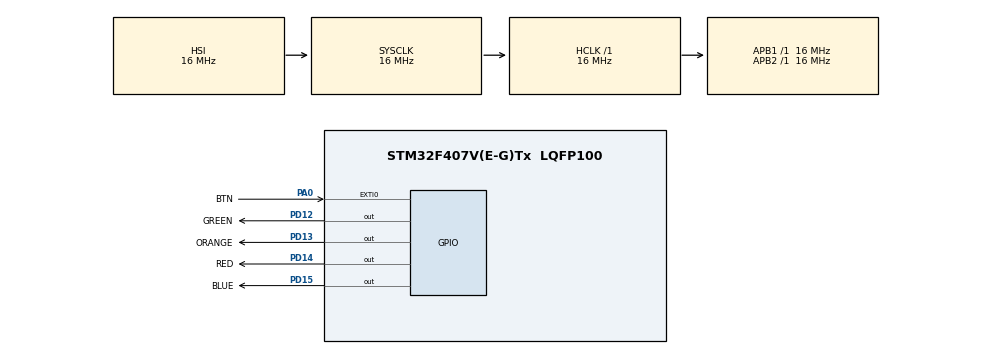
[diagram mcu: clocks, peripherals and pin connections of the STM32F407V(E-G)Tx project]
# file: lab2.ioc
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Mcu.Family=STM32F4
Mcu.Name=STM32F407V(E-G)Tx
Mcu.Package=LQFP100
NVIC.EXTI0_IRQn=true\:0\:0\:false\:false\:true\:true\:true\:true
NVIC.PriorityGroup=NVIC_PRIORITYGROUP_4
PA0-WKUP.GPIO_Label=BTN
PA0-WKUP.Signal=GPXTI0
PD12.GPIO_Label=GREEN
PD12.Signal=GPIO_Output
PD13.GPIO_Label=ORANGE
PD13.Signal=GPIO_Output
PD14.GPIO_Label=RED
PD14.Signal=GPIO_Output
PD15.GPIO_Label=BLUE
PD15.Signal=GPIO_Output
ProjectManager.HeapSize=0x200
ProjectManager.StackSize=0x400
ProjectManager.TargetToolchain=STM32CubeIDE
RCC.AHBFreq_Value=16000000
RCC.APB1Freq_Value=16000000
RCC.APB2Freq_Value=16000000
RCC.CortexFreq_Value=16000000
RCC.HSE_VALUE=25000000
RCC.HSI_VALUE=16000000
RCC.LSE_VALUE=32768
RCC.SYSCLKFreq_VALUE=16000000
RCC.VCOOutputFreq_Value=192000000
board=custom

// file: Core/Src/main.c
/* USER CODE BEGIN Header */
/**
  ******************************************************************************
  * @file           : main.c
  * @brief          : Main program body
  ******************************************************************************
  * @attention
  *
  * Copyright (c) 2023 STMicroelectronics.
  * All rights reserved.
  *
  * This software is licensed under terms that can be found in the LICENSE file
  * in the root directory of this software component.
  * If no LICENSE file comes with this software, it is provided AS-IS.
  *
  ******************************************************************************
  */
/* USER CODE END Header */
#include "main.h"

void SystemClock_Config(void);
static void MX_GPIO_Init(void);

/* USER CODE BEGIN 0 */
unsigned int ledN = 1;
/* USER CODE END 0 */

int main(void)
{

  /* MCU Configuration--------------------------------------------------------*/

  /* Reset of all peripherals, Initializes the Flash interface and the Systick. */
  HAL_Init();

  /* Configure the system clock */
  SystemClock_Config();

  /* Initialize all configured peripherals */
  MX_GPIO_Init();

  /* Infinite loop */
  /* USER CODE BEGIN WHILE */

  while (1)
  {
	  if (ledN == 0)
	  {
		  HAL_GPIO_WritePin(GREEN_GPIO_Port, GREEN_Pin, GPIO_PIN_SET);
		  HAL_Delay(500);
		  HAL_GPIO_WritePin(GREEN_GPIO_Port, GREEN_Pin, GPIO_PIN_RESET);
		  HAL_Delay(500);
	  }

	  if (ledN == 1)
	  {
		  HAL_GPIO_WritePin(ORANGE_GPIO_Port, ORANGE_Pin, GPIO_PIN_SET);
		  HAL_Delay(500);
		  HAL_GPIO_WritePin(ORANGE_GPIO_Port, ORANGE_Pin, GPIO_PIN_RESET);
		  HAL_Delay(500);
	  }

	  if (ledN == 2)
	  {
		  HAL_GPIO_WritePin(RED_GPIO_Port, RED_Pin, GPIO_PIN_SET);
		  HAL_Delay(500);
		  HAL_GPIO_WritePin(RED_GPIO_Port, RED_Pin, GPIO_PIN_RESET);
		  HAL_Delay(500);
	  }

	  if (ledN == 3)
	  {
		  HAL_GPIO_WritePin(BLUE_GPIO_Port, BLUE_Pin, GPIO_PIN_SET);
		  HAL_Delay(500);
		  HAL_GPIO_WritePin(BLUE_GPIO_Port, BLUE_Pin, GPIO_PIN_RESET);
		  HAL_Delay(500);
	  }
    /* USER CODE END WHILE */

  }
}

void SystemClock_Config(void)
{
  RCC_OscInitTypeDef RCC_OscInitStruct = {0};
  RCC_ClkInitTypeDef RCC_ClkInitStruct = {0};

  /** Configure the main internal regulator output voltage
  */
  __HAL_RCC_PWR_CLK_ENABLE();
  __HAL_PWR_VOLTAGESCALING_CONFIG(PWR_REGULATOR_VOLTAGE_SCALE1);

  /** Initializes the RCC Oscillators according to the specified parameters
  * in the RCC_OscInitTypeDef structure.
  */
  RCC_OscInitStruct.OscillatorType = RCC_OSCILLATORTYPE_HSI;
  RCC_OscInitStruct.HSIState = RCC_HSI_ON;
  RCC_OscInitStruct.HSICalibrationValue = RCC_HSICALIBRATION_DEFAULT;
  RCC_OscInitStruct.PLL.PLLState = RCC_PLL_NONE;
  if (HAL_RCC_OscConfig(&RCC_OscInitStruct) != HAL_OK)
  {
    Error_Handler();
  }

  /** Initializes the CPU, AHB and APB buses clocks
  */
  RCC_ClkInitStruct.ClockType = RCC_CLOCKTYPE_HCLK|RCC_CLOCKTYPE_SYSCLK
                              |RCC_CLOCKTYPE_PCLK1|RCC_CLOCKTYPE_PCLK2;
  RCC_ClkInitStruct.SYSCLKSource = RCC_SYSCLKSOURCE_HSI;
  RCC_ClkInitStruct.AHBCLKDivider = RCC_SYSCLK_DIV1;
  RCC_ClkInitStruct.APB1CLKDivider = RCC_HCLK_DIV1;
  RCC_ClkInitStruct.APB2CLKDivider = RCC_HCLK_DIV1;

  if (HAL_RCC_ClockConfig(&RCC_ClkInitStruct, FLASH_LATENCY_0) != HAL_OK)
  {
    Error_Handler();
  }
}

static void MX_GPIO_Init(void)
{
  GPIO_InitTypeDef GPIO_InitStruct = {0};

  /* GPIO Ports Clock Enable */
  __HAL_RCC_GPIOA_CLK_ENABLE();
  __HAL_RCC_GPIOD_CLK_ENABLE();

  /*Configure GPIO pin Output Level */
  HAL_GPIO_WritePin(GPIOD, GREEN_Pin|ORANGE_Pin|RED_Pin|BLUE_Pin, GPIO_PIN_RESET);

  /*Configure GPIO pin : BTN_Pin */
  GPIO_InitStruct.Pin = BTN_Pin;
  GPIO_InitStruct.Mode = GPIO_MODE_IT_RISING;
  GPIO_InitStruct.Pull = GPIO_NOPULL;
  HAL_GPIO_Init(BTN_GPIO_Port, &GPIO_InitStruct);

  /*Configure GPIO pins : GREEN_Pin ORANGE_Pin RED_Pin BLUE_Pin */
  GPIO_InitStruct.Pin = GREEN_Pin|ORANGE_Pin|RED_Pin|BLUE_Pin;
  GPIO_InitStruct.Mode = GPIO_MODE_OUTPUT_PP;
  GPIO_InitStruct.Pull = GPIO_NOPULL;
  GPIO_InitStruct.Speed = GPIO_SPEED_FREQ_LOW;
  HAL_GPIO_Init(GPIOD, &GPIO_InitStruct);

  /* EXTI interrupt init*/
  HAL_NVIC_SetPriority(EXTI0_IRQn, 0, 0);
  HAL_NVIC_EnableIRQ(EXTI0_IRQn);

}

void Error_Handler(void)
{
  __disable_irq();
  while (1)
  {
  }
}
